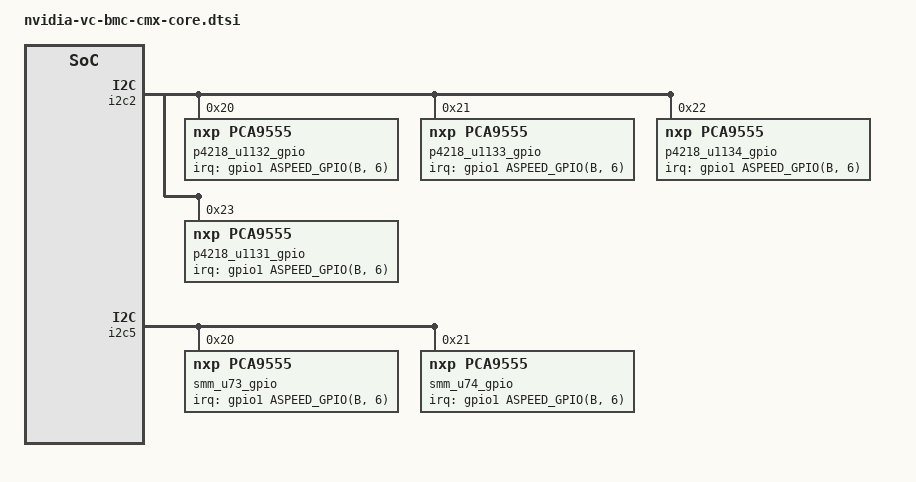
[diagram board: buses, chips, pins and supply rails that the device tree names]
// SPDX-License-Identifier: GPL-2.0+
/dts-v1/;

#include "aspeed-g6.dtsi"
#include <dt-bindings/gpio/aspeed-gpio.h>

/* 208 (26*8) 3.3V GPIOs */
&gpio0 {
	gpio-line-names =

	/* A0-D7 */
		"", "", "", "", "", "", "", "",
		"", "", "", "", "", "", "", "",
		"", "", "", "", "", "", "", "",
		"", "", "", "", "", "", "", "",

	/* E0-E7 */
		"RTL8211_PHY_RST_L-O",
		"RTL8211_PHY_INT_L-I",
		"",
		"",
		"",
		"",
		"",
		"SGPIO_BMC_EN-O",

	/* F0-H7 */
		"", "", "", "", "", "", "", "",
		"", "", "", "", "", "", "", "",
		"", "", "", "", "", "", "", "",

	/* I0-I7 */
		"",
		"",
		"",
		"",
		"",
		"QSPI2_RST_L-O",
		"BMC_SPI_WP-O",
		"BMC_DDR4_TEN-O",

	/* J0-L7 */
		"", "", "", "", "", "", "", "",
		"", "", "", "", "", "", "", "",
		"", "", "", "", "", "", "", "",

	/* M0-M7 (UART1) */
		"BMC_USB_HUB_RST_L-O",
		"BMC_FRU_WP-O",
		"",
		"",
		"",
		"PCIE_EP_RST_L-O",
		"",
		"",

	/* N0-U7 */
		"", "", "", "", "", "", "", "",
		"", "", "", "", "", "", "", "",
		"", "", "", "", "", "", "", "",
		"", "", "", "", "", "", "", "",
		"", "", "", "", "", "", "", "",
		"", "", "", "", "", "", "", "",
		"", "", "", "", "", "", "", "",
		"", "", "", "", "", "", "", "",

	/* V0-V7 */
		"",
		"",
		"",
		"",
		"PCB_TEMP_ALERT-I",
		"",
		"",
		"",

	/* W0-W7 (ESPI) */
		"", "", "", "", "", "", "", "",

	/* X0-X7 (SPI2) */
		"", "", "", "", "", "", "", "",

	/* Y0-Y7 (FWPSPI) */
		"",
		"",
		"",
		"EMMC_RST-O",
		"",
		"",
		"",
		"",

	/* Z0-Z7 (SPI1) */
		"", "", "", "", "", "", "", "";
};

/* 36 (4*8+4) 1.8V GPIOs */
&gpio1 {
	gpio-line-names =

	/* A0-A7 */
		"", "", "", "", "", "", "", "",

	/* B0-B7 */
		"",
		"",
		"",
		"",
		"AP_EROT_REQ-O",
		"EROT_AP_GNT-I",
		"I2C_MGMT0_ALERT_L-I",
		"",

	/* C0-E3 */
		"", "", "", "", "", "", "", "",
		"", "", "", "", "", "", "", "",
		"", "", "", "";
};

/* I2C3 P4218 GPIO Expanders */
&i2c2 {
	/* P4218 U1132 TCA9535 GPIO bank 0 for power, thermal, and hub control. */
	p4218_u1132_gpio: pca9555@20 {
		compatible = "nxp,pca9555";
		reg = <0x20>;

		interrupt-controller;
		#interrupt-cells = <2>;
		interrupt-parent = <&gpio1>;
		interrupts = <ASPEED_GPIO(B, 6) IRQ_TYPE_LEVEL_LOW>;

		gpio-controller;
		#gpio-cells = <2>;
		gpio-line-names =
			"B0_SHDN_FORCE_L-O",
			"",
			"B0_THERM_OVERT_L-I",
			"B0_THERM_WARN_L-I",
			"B0_HPM_WP-O",
			"B0_USB_HUB0_RST_L-O",
			"B0_PRE_SYS_RST_L-O",
			"B0_LEAK_DETECT_ALERT_L-I",

			"B0_RUN_POWER_EN-O",
			"B0_RUN_POWER_PG-I",
			"B0_CPU_CHIPTHROT_L-I",
			"B0_SHDN_REQ_L-O",
			"B0_CPU_SHDN_OK_L-I",
			"B0_CPLD_READY-I",
			"B0_PWR_BRAKE_L-O",
			"B0_PWR_BRAKE_STATUS_L-I";
	};

	/* P4218 U1133 TCA9535 GPIO bank 1 for mux, SOCAMM, and status control. */
	p4218_u1133_gpio: pca9555@21 {
		compatible = "nxp,pca9555";
		reg = <0x21>;

		interrupt-controller;
		#interrupt-cells = <2>;
		interrupt-parent = <&gpio1>;
		interrupts = <ASPEED_GPIO(B, 6) IRQ_TYPE_LEVEL_LOW>;

		gpio-controller;
		#gpio-cells = <2>;
		gpio-line-names =
			"",
			"B0_HPM_MCU_OK-I",
			"B0_CPU_L0_RST_IND_L-I",
			"B0_SOCAMM_DAC_SEL0-O",
			"B0_SOCAMM_DAC_SEL1-O",
			"B0_C0_SOCAMM_I2C_SEL_R-O",
			"",
			"B0_EEPROM_POWER_DISABLE-O",

			"B0_L0L1_RST_L-I",
			"B0_L2_RST_L-I",
			"B0_BRD_ID_0-I",
			"B0_BRD_ID_1-I",
			"B0_LEAK_TEST_L-O",
			"B0_MCU_BMC_ALERT_L-I",
			"B0_CPU_BOOT_COMPLETE-I",
			"";
	};

	/* P4218 U1134 TCA9535 GPIO bank 2 for MCU recovery and board status. */
	p4218_u1134_gpio: pca9555@22 {
		compatible = "nxp,pca9555";
		reg = <0x22>;

		interrupt-controller;
		#interrupt-cells = <2>;
		interrupt-parent = <&gpio1>;
		interrupts = <ASPEED_GPIO(B, 6) IRQ_TYPE_LEVEL_LOW>;

		gpio-controller;
		#gpio-cells = <2>;
		gpio-line-names =
			"B0_HPM_MCU_RESET_L-O",
			"B0_HPM_MCU_REC_L-O",
			"B0_BMC_RTC_ALERT_L-I",
			"B0_BMC_RTC_CLR_L-O",
			"B0_CPU_RST_L-I",
			"",
			"",
			"B0_CPLD_READY-I",

			"B0_RUN_POWER_PG-I",
			"B0_MCU_ALERT_L-I",
			"",
			"B0_HPM_MCU_OK-I",
			"",
			"B0_CPLD_AUTH_FAIL-I",
			"",
			"B0_PWR_BRAKE_STATUS2_L-I";
	};

	/* P4218 U1131 TCA9535 GPIO bank 3 for CPU boot and JTAG control. */
	p4218_u1131_gpio: pca9555@23 {
		compatible = "nxp,pca9555";
		reg = <0x23>;

		interrupt-controller;
		#interrupt-cells = <2>;
		interrupt-parent = <&gpio1>;
		interrupts = <ASPEED_GPIO(B, 6) IRQ_TYPE_LEVEL_LOW>;

		gpio-controller;
		#gpio-cells = <2>;
		gpio-line-names =
			"B0_CPU_FORCED_RECOVERY_L-O",
			"B0_CPU_BOOT_DEV_SEL0-O",
			"B0_CPU_BOOT_DEV_SEL1-O",
			"B0_CPU_BOOT_DEV_SEL2-O",
			"",
			"B0_CPU_RECOVERY_TYPE0-O",
			"B0_CPU_RECOVERY_TYPE1-O",
			"B0_CPU_IST_BOOT_HMC-O",

			"B0_CPU_PREBOOT_DIAG-O",
			"",
			"B0_HPM_MCU_I2C_ENABLE-O",
			"B0_CPU_DIE_SEL0-O",
			"B0_CPU_DIE_SEL1-O",
			"B0_CPU_DIE_SEL2-O",
			"",
			"B0_NVJTAG_SEL-O";
	};
};

/* I2C6 SMM Carrier GPIO Expanders */
&i2c5 {
	/* SMM U73 TCA9535/TCA9555 GPIO expander for LEDs, buttons, and BMC power. */
	smm_u73_gpio: pca9555@20 {
		compatible = "nxp,pca9555";
		reg = <0x20>;

		interrupt-controller;
		#interrupt-cells = <2>;
		interrupt-parent = <&gpio1>;
		interrupts = <ASPEED_GPIO(B, 6) IRQ_TYPE_LEVEL_LOW>;

		gpio-controller;
		#gpio-cells = <2>;
		gpio-line-names =
			"",
			"",
			"",
			"SMM_FRU_WP-O",
			"",
			"",
			"BMC_SELF_PWR_CYCLE-O",
			"EEDO_LED2-O",

			"PWR_LED_L-O",
			"PWR_BTN_L-I",
			"UID_LED_L-O",
			"UID_BTN_L-I",
			"FAULT_LED_L-O",
			"",
			"",
			"WARN_LED_L-O";
	};

	/* SMM U74 TCA9535 GPIO expander for switch, tray, and USB controls. */
	smm_u74_gpio: pca9555@21 {
		compatible = "nxp,pca9555";
		reg = <0x21>;

		interrupt-controller;
		#interrupt-cells = <2>;
		interrupt-parent = <&gpio1>;
		interrupts = <ASPEED_GPIO(B, 6) IRQ_TYPE_LEVEL_LOW>;

		gpio-controller;
		#gpio-cells = <2>;
		gpio-line-names =
			"",
			"",
			"",
			"",
			"",
			"",
			"SW_NRESET_L-O",
			"",

			"",
			"",
			"PDB_TRAY_RST-O",
			"HOST_RDY_PWR_EN-O",
			"",
			"",
			"",
			"";
	};
};

/* EMMC group that excludes WP & CD pin */
&pinctrl {
	pinctrl_emmcg9_default: emmcg9_default {
		function = "EMMC";
		groups = "EMMCG9";
	};
};
